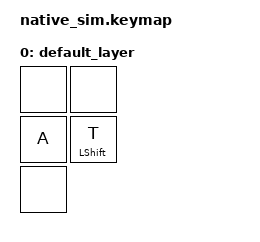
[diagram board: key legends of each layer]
#include <dt-bindings/zmk/keys.h>
#include <behaviors.dtsi>
#include <dt-bindings/zmk/kscan_mock.h>


#define ZMK_COMBO(name, combo_bindings, keypos, combo_term) \
/ { \
    combos { \
        compatible = "dax,runtime-combo-defaults"; \
        combo_ ## name { \
            key-positions = <keypos>; \
            bindings = <combo_bindings>; \
            timeout-ms = <combo_term>; \
        }; \
    }; \
};

ZMK_COMBO(qmark, &kp QMARK,     0 3, 30)
ZMK_COMBO(dllr,  &kp DLLR,      1 3, 50)
ZMK_COMBO(tilde, &kp TILDE,     3 4, 50)

/ {
    keymap {
        compatible = "zmk,keymap";

        default_layer {
            bindings = <
            &none         &none
            &kp A         &mt LSHFT T
            &none
            >;
        };
    };
};

&kscan {
    rows = <3>;
    columns = <2>;
    events = <
    ZMK_MOCK_PRESS(1,1,500)
    ZMK_MOCK_PRESS(1,0,100)
    ZMK_MOCK_RELEASE(1,0,500)
    ZMK_MOCK_RELEASE(1,1,0)
    >;
};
